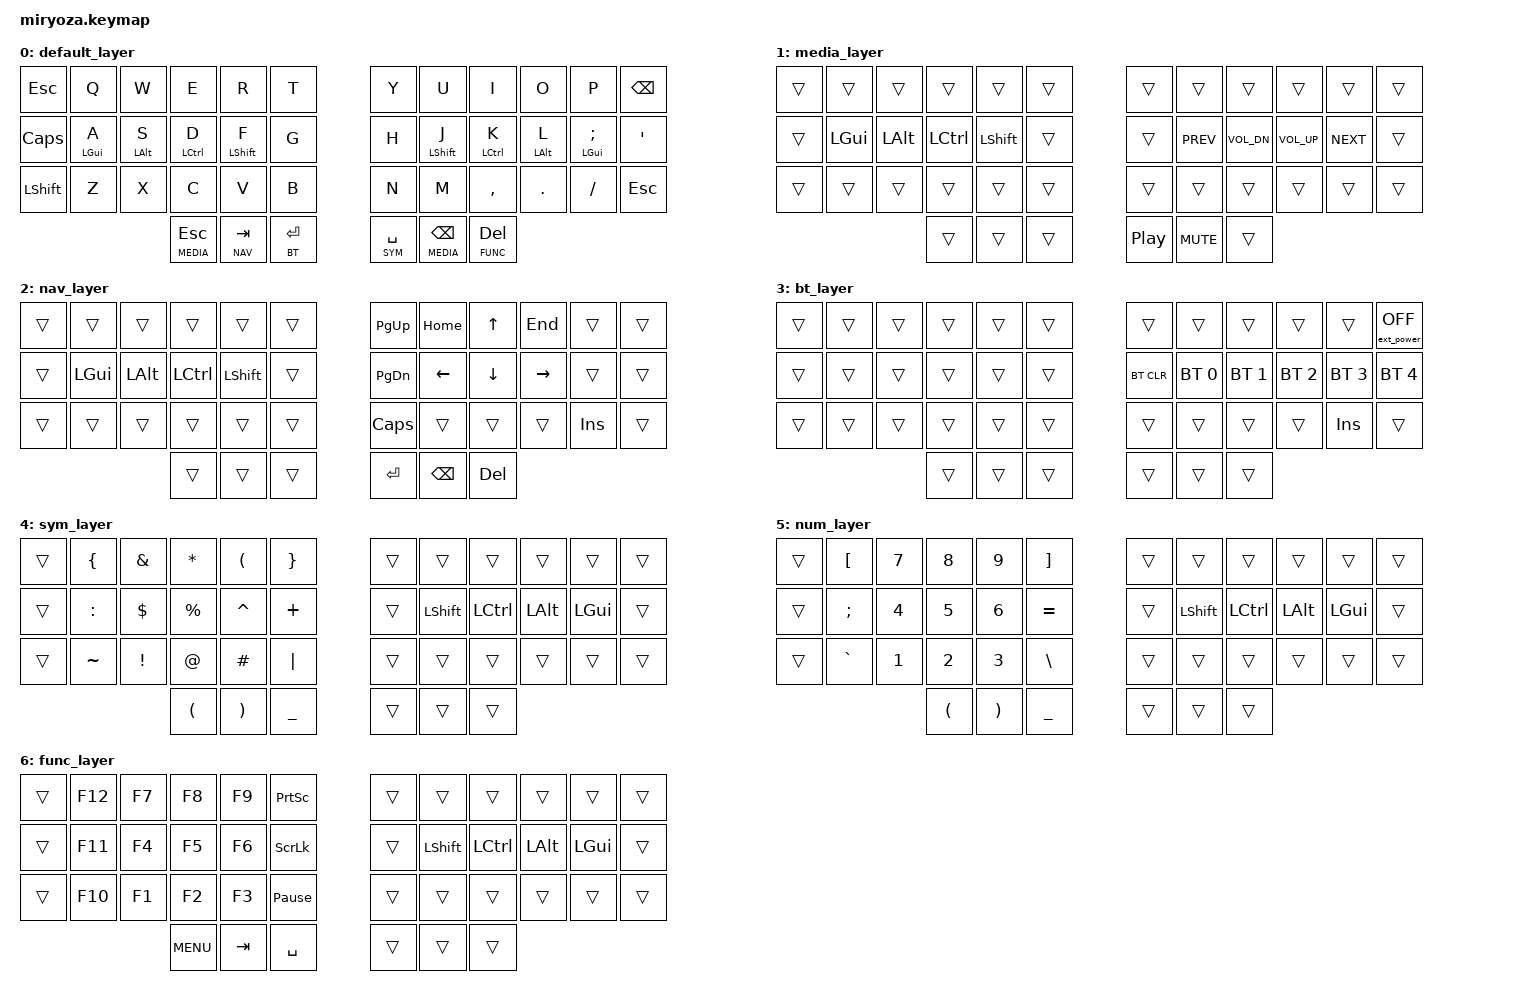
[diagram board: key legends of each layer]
/*
 * Copyright (c) 2020 The ZMK Contributors
 *
 * SPDX-License-Identifier: MIT
 */

#include <behaviors.dtsi>
#include <dt-bindings/zmk/keys.h>
#include <dt-bindings/zmk/bt.h>
#include <dt-bindings/zmk/ext_power.h>

#define QWERT 0
#define MEDIA 1
#define NAV   2
#define BT    3
#define SYM   4
#define NUM   5
#define FUNC  6

/ {
        keymap {
                compatible = "zmk,keymap";

                default_layer {
// -----------------------------------------------------------------------------------------
// |  ESC |  Q  |  W  |  E  |  R  |  T  |   |  Y  |  U   |  I  |  O  |  P  | BKSP |
// | CAPS |  A  |  S  |  D  |  F  |  G  |   |  H  |  J   |  K  |  L  |  ;  |  '   |
// | SHFT |  Z  |  X  |  C  |  V  |  B  |   |  N  |  M   |  ,  |  .  |  /  | ENT  |
//                    | ESC | TAB | ENT |   | SPC | BKSP | DEL |
                        bindings = <
   &kp ESC   &kp Q      &kp W      &kp E       &kp R         &kp T          &kp Y         &kp U          &kp I       &kp O      &kp P         &kp BSPC
   &kp CAPS  &mt LGUI A &mt LALT S &mt LCTRL D &mt LSHFT F   &kp G          &kp H         &mt LSHFT J    &mt LCTRL K &mt LALT L &mt LGUI SEMI &kp SQT
   &kp LSHFT &kp Z      &kp X      &kp C       &kp V         &kp B          &kp N         &kp M          &kp COMMA   &kp DOT    &kp FSLH      &kp ESC
                                   &lt MEDIA ESC &lt NAV TAB &lt BT ENTER   &lt SYM SPACE &lt MEDIA BSPC &lt FUNC DEL
                        >;
                };
                media_layer {
// -----------------------------------------------------------------------------------------
// |     |      |      |       |       |     |   |      |      |      |      |      |     |
// |     | LGUI | LALT | LCTRL | LSHFT |     |   |      | PREV | VOL- | VOL+ | NEXT |     |
// |     |      |      |       |       |     |   |      |      |      |      |      |     |
//                     |       |       |     |   | PLAY | MUTE |      |
                        bindings = <
   &trans &trans   &trans   &trans    &trans    &trans   &trans   &trans     &trans       &trans       &trans     &trans
   &trans &kp LGUI &kp LALT &kp LCTRL &kp LSHFT &trans   &trans   &kp C_PREV &kp C_VOL_DN &kp C_VOL_UP &kp C_NEXT &trans
   &trans &trans   &trans   &trans    &trans    &trans   &trans   &trans     &trans       &trans       &trans     &trans
                            &trans    &trans    &trans   &kp C_PP &kp C_MUTE &trans
                        >;
                };

                nav_layer {
// -----------------------------------------------------------------------------------------
// |  TAB |  !  |  @  |  #  |  $  |  %  |   |  ^  |  &  |  *  |  (  |  )  | BKSP |
// | CTRL |     |     |     |     |     |   |  -  |  =  |  [  |  ]  |  \  |  `   |
// | SHFT |     |     |     |     |     |   |  _  |  +  |  {  |  }  | "|" |  ~   |
//                    | GUI |     | SPC |   | ENT |     | ALT |
                        bindings = <
   &trans &trans   &trans   &trans    &trans    &trans   &kp PG_UP &kp HOME &kp UP   &kp END   &trans  &trans
   &trans &kp LGUI &kp LALT &kp LCTRL &kp LSHFT &trans   &kp PG_DN &kp LEFT &kp DOWN &kp RIGHT &trans  &trans
   &trans &trans   &trans   &trans    &trans    &trans   &kp CAPS  &trans   &trans   &trans    &kp INS &trans
                            &trans    &trans    &trans   &kp ENTER &kp BSPC &kp DEL
                        >;
                };
                
                bt_layer {
// -----------------------------------------------------------------------------------------
// |  TAB |  !  |  @  |  #  |  $  |  %  |   |  ^  |  &  |  *  |  (  |  )  | BKSP |
// | CTRL |     |     |     |     |     |   |  -  |  =  |  [  |  ]  |  \  |  `   |
// | SHFT |     |     |     |     |     |   |  _  |  +  |  {  |  }  | "|" |  ~   |
//                    | GUI |     | SPC |   | ENT |     | ALT |
                        bindings = <
   &trans &trans &trans &trans &trans &trans   &trans     &trans       &trans       &trans       &trans       &ext_power EP_OFF
   &trans &trans &trans &trans &trans &trans   &bt BT_CLR &bt BT_SEL 0 &bt BT_SEL 1 &bt BT_SEL 2 &bt BT_SEL 3 &bt BT_SEL 4
   &trans &trans &trans &trans &trans &trans   &trans     &trans       &trans       &trans       &kp INS      &trans
                            &trans    &trans   &trans     &trans       &trans       &trans
                        >;
                };

                sym_layer {
// -----------------------------------------------------------------------------------------
// |  TAB |  !  |  @  |  #  |  $  |  %  |   |  ^  |  &  |  *  |  (  |  )  | BKSP |
// | CTRL |     |     |     |     |     |   |  -  |  =  |  [  |  ]  |  \  |  `   |
// | SHFT |     |     |     |     |     |   |  _  |  +  |  {  |  }  | "|" |  ~   |
//                    | GUI |     | SPC |   | ENT |     | ALT |
                        bindings = <
   &trans &kp LBRC  &kp AMPS &kp ASTRK &kp LPAR  &kp RBRC    &trans &trans    &trans    &trans   &trans   &trans
   &trans &kp COLON &kp DLLR &kp PRCNT &kp CARET &kp PLUS    &trans &kp LSHFT &kp LCTRL &kp LALT &kp LGUI &trans
   &trans &kp TILDE &kp EXCL &kp AT    &kp HASH  &kp PIPE    &trans &trans    &trans    &trans   &trans   &trans
                             &kp LPAR  &kp RPAR  &kp UNDER   &trans &trans    &trans
                        >;
                };

                num_layer {
// -----------------------------------------------------------------------------------------
// |  TAB |  !  |  @  |  #  |  $  |  %  |   |  ^  |  &  |  *  |  (  |  )  | BKSP |
// | CTRL |     |     |     |     |     |   |  -  |  =  |  [  |  ]  |  \  |  `   |
// | SHFT |     |     |     |     |     |   |  _  |  +  |  {  |  }  | "|" |  ~   |
//                    | GUI |     | SPC |   | ENT |     | ALT |
                        bindings = <
   &trans &kp LBKT  &kp N7 &kp N8   &kp N9   &kp RBKT    &trans &trans    &trans    &trans   &trans   &trans
   &trans &kp SEMI  &kp N4 &kp N5   &kp N6   &kp EQUAL   &trans &kp LSHFT &kp LCTRL &kp LALT &kp LGUI &trans
   &trans &kp GRAVE &kp N1 &kp N2   &kp N3   &kp BSLH    &trans &trans    &trans    &trans   &trans   &trans
                           &kp LPAR &kp RPAR &kp UNDER   &trans &trans    &trans
                        >;
                };

                func_layer {
// -----------------------------------------------------------------------------------------
// |  TAB |  !  |  @  |  #  |  $  |  %  |   |  ^  |  &  |  *  |  (  |  )  | BKSP |
// | CTRL |     |     |     |     |     |   |  -  |  =  |  [  |  ]  |  \  |  `   |
// | SHFT |     |     |     |     |     |   |  _  |  +  |  {  |  }  | "|" |  ~   |
//                    | GUI |     | SPC |   | ENT |     | ALT |
                        bindings = <
   &trans &kp F12 &kp F7 &kp F8     &kp F9  &kp PSCRN         &trans &trans    &trans    &trans   &trans   &trans
   &trans &kp F11 &kp F4 &kp F5     &kp F6  &kp SLCK          &trans &kp LSHFT &kp LCTRL &kp LALT &kp LGUI &trans
   &trans &kp F10 &kp F1 &kp F2     &kp F3  &kp PAUSE_BREAK   &trans &trans    &trans    &trans   &trans   &trans
                         &kp C_MENU &kp TAB &kp SPACE         &trans &trans    &trans
                        >;
                };
        };
};
